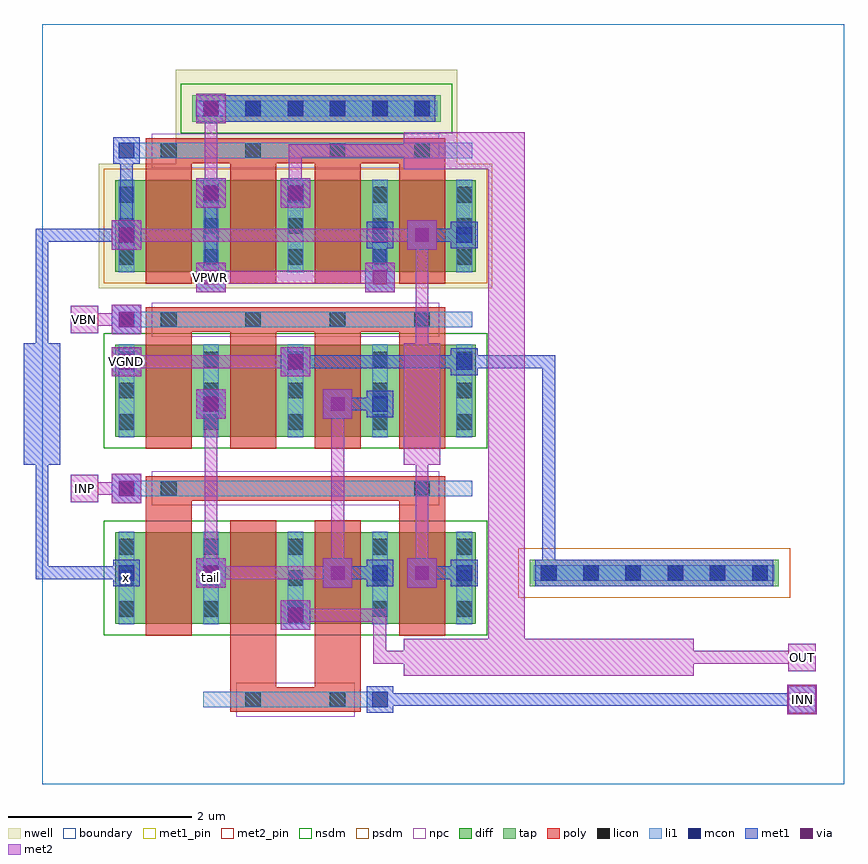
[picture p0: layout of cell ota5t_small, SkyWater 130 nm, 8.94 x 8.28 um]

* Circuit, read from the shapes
.subckt ota5t_small INN INP OUT VBN VGND VPWR tail x
XM1 tail INP x VGND sky130_fd_pr__nfet_01v8 w=1 l=0.5 m=2
XM2 tail VBN VGND VGND sky130_fd_pr__nfet_01v8 w=1 l=0.5 m=4
XM3 OUT INN tail VGND sky130_fd_pr__nfet_01v8 w=1 l=0.5 m=2
XM4 VPWR x x VPWR sky130_fd_pr__pfet_01v8 w=1 l=0.5 m=2
XM5 OUT x VPWR VPWR sky130_fd_pr__pfet_01v8 w=1 l=0.5 m=2
.ends

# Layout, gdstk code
import gdstk
lib = gdstk.Library(unit=1e-6, precision=1e-09)
def R(c, l, rs):  # rectangles x0, y0, x1, y1
    for r in rs: c.add(gdstk.rectangle(r[:2], r[2:], *l))
def A(c, l, x, y, w, h, nx, ny, dx, dy):  # array of equal rectangles
    R(c, l, [(x+i*dx, y+j*dy, x+i*dx+w, y+j*dy+h) for i in range(nx) for j in range(ny)])
nwell = (64, 20)
diff = (65, 20)
tap = (65, 44)
poly = (66, 20)
licon = (66, 44)
li1 = (67, 20)
mcon = (67, 44)
met1_pin = (68, 16)
met1 = (68, 20)
via = (68, 44)
met2_pin = (69, 16)
met2 = (69, 20)
nsdm = (93, 44)
psdm = (94, 20)
npc = (95, 20)
boundary = (235, 4)

ota5t_small = lib.new_cell('ota5t_small')
R(ota5t_small, nwell, [(0.615,5.4,4.905,6.76), (1.455,6.76,4.525,7.78)])
R(ota5t_small, diff, [(0.795,1.745,4.725,2.745), (0.795,3.785,4.725,4.785), (0.795,5.58,4.725,6.58)])
R(ota5t_small, tap, [(5.315,2.155,8.025,2.445), (1.635,7.215,4.345,7.505)])
A(ota5t_small, poly, 1.13, 3.085, 3.26, 0.27, 1, 3, 0, 1.84)
A(ota5t_small, poly, 1.13, 3.655, 0.5, 1.405, 4, 1, 0.92, 0)
A(ota5t_small, poly, 1.13, 5.45, 0.5, 1.45, 4, 1, 0.92, 0)
R(ota5t_small, poly, [(2.05,0.785,3.47,1.055), (2.05,0.92,2.55,2.875), (2.97,0.92,3.47,2.875), (1.13,1.615,1.63,3.22), (3.89,1.615,4.39,3.22)])
A(ota5t_small, licon, 0.835, 1.82, 0.17, 0.17, 5, 3, 0.92, 0.34)
A(ota5t_small, licon, 5.435, 2.215, 0.17, 0.17, 6, 1, 0.46, 0)
A(ota5t_small, licon, 0.835, 3.86, 0.17, 0.17, 5, 3, 0.92, 0.34)
A(ota5t_small, licon, 1.295, 4.975, 0.17, 0.17, 4, 2, 0.92, 1.84)
A(ota5t_small, licon, 0.835, 5.655, 0.17, 0.17, 5, 3, 0.92, 0.34)
A(ota5t_small, licon, 1.755, 7.275, 0.17, 0.17, 6, 1, 0.46, 0)
R(ota5t_small, licon, [(2.215,0.835,2.385,1.005), (3.135,0.835,3.305,1.005), (1.295,3.135,1.465,3.305), (4.055,3.135,4.225,3.305)])
A(ota5t_small, li1, 0.835, 1.74, 0.17, 1.01, 5, 2, 0.92, 2.04)
A(ota5t_small, li1, 0.835, 3.135, 3.85, 0.17, 1, 3, 0, 1.84)
A(ota5t_small, li1, 0.835, 5.575, 0.17, 1.01, 5, 1, 0.92, 0)
R(ota5t_small, li1, [(1.755,0.835,3.765,1.005), (5.355,2.215,7.985,2.385), (1.675,7.275,4.305,7.445)])
A(ota5t_small, mcon, 3.595, 2.215, 0.17, 0.17, 3, 1, 0.92, 0)
A(ota5t_small, mcon, 5.895, 2.215, 0.17, 0.17, 5, 1, 0.46, 0)
A(ota5t_small, mcon, 0.835, 4.515, 0.17, 0.17, 3, 1, 1.84, 0)
A(ota5t_small, mcon, 0.835, 4.975, 0.17, 0.17, 1, 3, 0, 0.92)
A(ota5t_small, mcon, 1.755, 7.275, 0.17, 0.17, 6, 1, 0.46, 0)
R(ota5t_small, mcon, [(3.595,0.835,3.765,1.005), (2.675,1.755,2.845,1.925), (0.835,2.215,1.005,2.385), (1.755,2.215,1.925,2.385), (0.835,3.135,1.005,3.305), (1.755,4.055,1.925,4.225), (3.595,4.055,3.765,4.225), (3.595,5.895,3.765,6.065), (4.515,5.895,4.685,6.065), (1.755,6.355,1.925,6.525), (2.675,6.355,2.845,6.525)])
R(ota5t_small, met1_pin, [(0.775,4.455,1.065,4.745), (1.68,5.36,2,5.68)])
A(ota5t_small, met1, 3.535, 2.155, 0.29, 0.29, 1, 3, 0, 1.84)
A(ota5t_small, met1, 0.775, 4.455, 0.29, 0.29, 3, 1, 1.84, 0)
A(ota5t_small, met1, 0.775, 4.915, 0.29, 0.29, 1, 3, 0, 0.92)
A(ota5t_small, met1, 1.68, 5.36, 0.32, 0.32, 1, 3, 0, 0.92)
R(ota5t_small, met1, [(8.12,0.76,8.44,1.08), (3.535,0.775,3.825,1.065), (3.61,0.85,8.35,0.99), (2.6,1.68,2.92,2), (2.615,1.695,2.905,1.985), (1.68,2.14,2,2.46), (3.06,2.14,3.38,2.46), (3.98,2.14,4.3,2.46), (0.775,2.155,1.065,2.445), (1.695,2.155,1.985,2.445), (4.455,2.155,4.745,2.445), (5.375,2.155,7.965,2.445), (-0.07,2.23,0.99,2.37), (-0.07,2.23,0.07,3.75), (3.15,2.23,3.75,2.37), (4.07,2.23,4.67,2.37), (5.45,2.23,5.59,2.37), (5.45,2.23,5.59,4.67), (0.76,3.06,1.08,3.38), (0.775,3.075,1.065,3.365), (-0.2,3.48,0.2,4.8), (1.68,3.98,2,4.3), (3.06,3.98,3.38,4.3), (1.695,3.995,1.985,4.285), (3.15,4.07,3.75,4.21), (0.76,4.44,1.08,4.76), (2.6,4.44,2.92,4.76), (-0.07,4.53,0.07,6.05), (2.69,4.53,4.67,4.67), (4.53,4.53,5.59,4.67), (0.76,4.9,1.08,5.22), (3.52,5.36,3.84,5.68), (1.77,5.45,1.91,6.51), (3.61,5.45,3.75,6.05), (0.76,5.82,1.08,6.14), (3.98,5.82,4.3,6.14), (4.455,5.835,4.745,6.125), (-0.07,5.91,0.99,6.05), (0.85,5.91,0.99,6.97), (4.07,5.91,4.67,6.05), (2.6,6.28,2.92,6.6), (1.695,6.295,1.985,6.585), (2.615,6.295,2.905,6.585), (1.695,7.215,4.285,7.505), (1.77,7.29,1.91,7.43)])
A(ota5t_small, via, 1.765, 5.445, 0.15, 0.15, 1, 3, 0, 0.92)
R(ota5t_small, via, [(8.205,0.845,8.355,0.995), (2.685,1.765,2.835,1.915), (1.765,2.225,1.915,2.375), (3.145,2.225,3.295,2.375), (4.065,2.225,4.215,2.375), (0.845,3.145,0.995,3.295), (1.765,4.065,1.915,4.215), (3.145,4.065,3.295,4.215), (0.845,4.525,0.995,4.675), (2.685,4.525,2.835,4.675), (0.845,4.985,0.995,5.135), (3.605,5.445,3.755,5.595), (0.845,5.905,0.995,6.055), (4.065,5.905,4.215,6.055), (2.685,6.365,2.835,6.515)])
R(ota5t_small, met2_pin, [(8.13,0.77,8.43,1.07), (8.13,1.23,8.43,1.53), (0.31,3.07,0.61,3.37), (0.31,4.91,0.61,5.21)])
A(ota5t_small, met2, 1.68, 5.36, 0.32, 0.32, 1, 3, 0, 0.92)
R(ota5t_small, met2, [(8.12,0.76,8.44,1.08), (8.13,0.77,8.43,1.07), (8.21,0.85,8.35,0.99), (3.94,1.18,7.1,1.58), (4.86,1.18,5.26,7.1), (8.13,1.23,8.43,1.53), (3.61,1.31,3.75,1.91), (3.61,1.31,4.21,1.45), (6.83,1.31,8.35,1.45), (8.21,1.31,8.35,1.45), (2.6,1.68,2.92,2), (2.69,1.77,3.75,1.91), (1.68,2.14,2,2.46), (3.06,2.14,3.38,2.46), (3.98,2.14,4.3,2.46), (1.77,2.23,1.91,4.21), (1.77,2.23,3.29,2.37), (3.15,2.23,3.29,4.21), (4.07,2.23,4.21,3.75), (0.76,3.06,1.08,3.38), (0.31,3.07,0.61,3.37), (0.39,3.15,0.53,3.29), (0.39,3.15,0.99,3.29), (3.94,3.48,4.34,4.8), (1.68,3.98,2,4.3), (3.06,3.98,3.38,4.3), (0.76,4.44,1.08,4.76), (2.6,4.44,2.92,4.76), (0.85,4.53,2.83,4.67), (4.07,4.53,4.21,6.05), (0.76,4.9,1.08,5.22), (0.31,4.91,0.61,5.21), (0.39,4.99,0.53,5.13), (0.39,4.99,0.99,5.13), (3.52,5.36,3.84,5.68), (1.77,5.45,3.75,5.59), (0.76,5.82,1.08,6.14), (3.98,5.82,4.3,6.14), (0.85,5.91,4.21,6.05), (2.6,6.28,2.92,6.6), (1.77,6.37,1.91,7.43), (2.69,6.37,2.83,6.97), (3.94,6.7,5.26,7.1), (2.69,6.83,4.21,6.97)])
R(ota5t_small, nsdm, [(0.67,1.62,4.85,2.87), (0.67,3.66,4.85,4.91), (1.51,7.09,4.47,7.63)])
R(ota5t_small, psdm, [(5.19,2.03,8.15,2.57), (0.67,5.455,4.85,6.705)])
A(ota5t_small, npc, 1.195, 3.035, 3.13, 0.37, 1, 3, 0, 1.84)
R(ota5t_small, npc, [(2.115,0.735,3.405,1.105)])
R(ota5t_small, boundary, [(0,0,8.74,8.28)])
ota5t_small.add(gdstk.Label('x', (0.92,2.245), layer=67, texttype=5))
ota5t_small.add(gdstk.Label('tail', (1.84,2.245), layer=67, texttype=5))
ota5t_small.add(gdstk.Label('VPWR', (1.84,5.52), layer=68, texttype=5))
ota5t_small.add(gdstk.Label('VGND', (0.92,4.6), layer=68, texttype=5))
ota5t_small.add(gdstk.Label('INP', (0.46,3.22), layer=69, texttype=5))
ota5t_small.add(gdstk.Label('INN', (8.28,0.92), layer=69, texttype=5))
ota5t_small.add(gdstk.Label('VBN', (0.46,5.06), layer=69, texttype=5))
ota5t_small.add(gdstk.Label('OUT', (8.28,1.38), layer=69, texttype=5))
ota5t_small.add(gdstk.Label('VPWR', (1.84,5.52), layer=68, texttype=16))
ota5t_small.add(gdstk.Label('VGND', (0.92,4.6), layer=68, texttype=16))
ota5t_small.add(gdstk.Label('INP', (0.46,3.22), layer=69, texttype=16))
ota5t_small.add(gdstk.Label('INN', (8.28,0.92), layer=69, texttype=16))
ota5t_small.add(gdstk.Label('VBN', (0.46,5.06), layer=69, texttype=16))
ota5t_small.add(gdstk.Label('OUT', (8.28,1.38), layer=69, texttype=16))

lib.write_gds('ota5t_small.gds')
